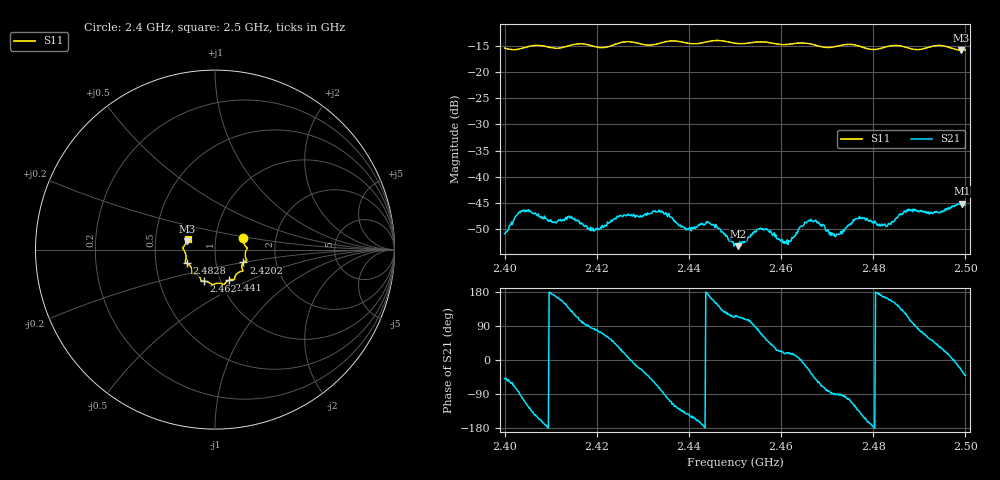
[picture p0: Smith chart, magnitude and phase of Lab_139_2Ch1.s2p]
# Hz S RI R 50
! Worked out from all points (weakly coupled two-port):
!   601 points, 2.4 GHz to 2.5 GHz, reference 50 ohm
!   highest |S21| = -45.14 dB at 2.4993 GHz (marker M1); lowest = -53.3 dB at 2.4507 GHz (marker M2)
!   lowest |S11| = -15.8 dB at 2.499 GHz (marker M3), VSWR 1.39, Z = 36.4 + j3.53 ohm
!   |S11| at or under -10 dB: start of sweep to end of sweep
!   S12 and S22 are empty: the file has one direction only
!   S11 on the Smith chart (normalised r, x): 2.4 GHz: 1.36, +0.17; 2.4202 GHz: 1.36, -0.20; 2.441 GHz: 1.10, -0.39; 2.462 GHz: 0.84, -0.30; 2.4828 GHz: 0.72, -0.11; 2.5 GHz: 0.73, +0.09
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2.4e9  0.1583 0.0622  0.00186 -0.00215  0 0  0 0
2.404167e9  0.1704 0.0186  -0.00132 -0.00463  0 0  0 0
2.416667e9  0.1771 -0.0609  -0.000781 0.00345  0 0  0 0
2.420167e9  0.1581 -0.0716  0.000684 0.00313  0 0  0 0
2.424833e9  0.1535 -0.1128  0.00353 0.00215  0 0  0 0
2.433333e9  0.1115 -0.1511  0.00152 -0.00438  0 0  0 0
2.441e9  0.0784 -0.17  -0.00281 -0.00159  0 0  0 0
2.444333e9  0.0542 -0.1902  -0.00357 0.00058  0 0  0 0
2.45e9  0.0281 -0.1878  -0.000969 0.00207  0 0  0 0
2.450667e9  0.0215 -0.1872  -0.000853 0.00198  0 0  0 0
2.4555e9  -0.0146 -0.1952  0.00104 0.00305  0 0  0 0
2.462e9  -0.0606 -0.1757  0.00231 0.000699  0 0  0 0
2.466667e9  -0.0789 -0.1681  0.00303 -0.00228  0 0  0 0
2.471333e9  -0.108 -0.1373  3.53e-06 -0.00274  0 0  0 0
2.4765e9  -0.1274 -0.1276  -0.00262 -0.00298  0 0  0 0
2.482833e9  -0.1578 -0.0766  -0.00321 0.00093  0 0  0 0
2.483333e9  -0.1608 -0.075  -0.00334 0.00126  0 0  0 0
2.487333e9  -0.1626 -0.0564  -0.00209 0.00433  0 0  0 0
2.4945e9  -0.1802 0.011  0.00369 0.00259  0 0  0 0
2.499e9  -0.1555 0.0472  0.00497 -0.00221  0 0  0 0
2.499333e9  -0.1541 0.0518  0.00482 -0.00272  0 0  0 0
2.5e9  -0.1523 0.0613  0.00404 -0.00352  0 0  0 0
